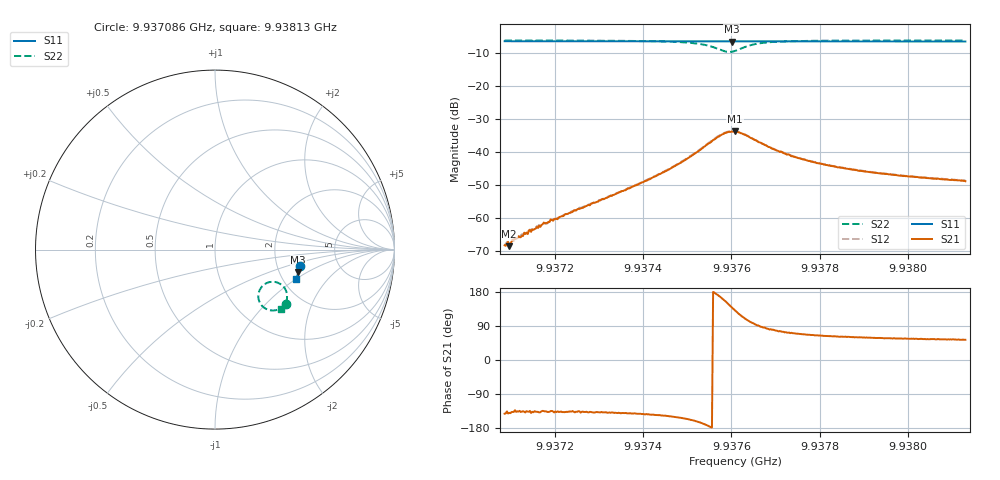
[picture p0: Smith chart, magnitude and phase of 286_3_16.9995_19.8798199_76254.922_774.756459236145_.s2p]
#  HZ  S  RI  R  50.00
! Rohde & Schwarz Vector Network Analyzer
! Rohde-Schwarz,ZNB20-2Port,1311601062101988,3.16
! Created: UTC 3/20/2024, 11:04:55 PM
! freq[Hz]  re:S11  im:S11  re:S21  im:S21  re:S12  im:S12  re:S22  im:S22
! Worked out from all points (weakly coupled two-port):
!   401 points, 9.937086 GHz to 9.93813 GHz, reference 50 ohm
!   highest |S21| = -33.69 dB at 9.937608 GHz (marker M1); lowest = -68.6 dB at 9.937097 GHz (marker M2)
!   lowest |S11| = -6.4 dB at 9.9376 GHz (marker M3), VSWR 2.84, Z = 126 - j41.4 ohm
!   |S11| at or under -10 dB: nowhere
!   |S22| runs from -9.6 to -6.1 dB; largest |S21 - S12| = 0.0009
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9.9370864e9  0.4753 -0.0931  -0.000301 -0.000239  -0.000296 -0.000252  0.3936 -0.3047
9.9370968e9  0.4751 -0.0941  -0.000284 -0.000242  -0.000318 -0.000289  0.3927 -0.3053
9.9371125e9  0.4748 -0.095  -0.000352 -0.000329  -0.000371 -0.000309  0.3917 -0.3066
9.9371594e9  0.4739 -0.0983  -0.000528 -0.0005  -0.000549 -0.00051  0.3882 -0.3102
9.9371751e9  0.4736 -0.0994  -0.000603 -0.000602  -0.000616 -0.000555  0.3868 -0.3113
9.9372612e9  0.4719 -0.1051  -0.00103 -0.000973  -0.00108 -0.000958  0.3785 -0.3183
9.9373498e9  0.4702 -0.1111  -0.00195 -0.0016  -0.00197 -0.00158  0.3665 -0.3266
9.9374359e9  0.4683 -0.117  -0.00379 -0.00261  -0.00388 -0.00255  0.3464 -0.3357
9.9374907e9  0.4668 -0.1207  -0.00654 -0.00323  -0.00671 -0.00318  0.3206 -0.3397
9.9375402e9  0.465 -0.1238  -0.0121 -0.00211  -0.0124 -0.00197  0.2753 -0.3249
9.9375741e9  0.4635 -0.1256  -0.0173 0.00398  -0.0177 0.00462  0.2416 -0.2683
9.9375898e9  0.4631 -0.1258  -0.0175 0.0096  -0.0174 0.0104  0.2494 -0.2242
9.9376002e9  0.4628 -0.1262  -0.0156 0.0134  -0.0154 0.0141  0.2697 -0.1983
9.937608e9  0.463 -0.1264  -0.0135 0.0156  -0.0132 0.0162  0.2905 -0.1854
9.9376367e9  0.4634 -0.1277  -0.0045 0.017  -0.00391 0.0172  0.3622 -0.1905
9.9376628e9  0.4634 -0.1297  -9.82e-06 0.0141  0.000321 0.0142  0.3916 -0.2206
9.9376967e9  0.463 -0.1322  0.00209 0.0109  0.00227 0.0107  0.4014 -0.2515
9.937728e9  0.4624 -0.1345  0.00285 0.00883  0.00299 0.00873  0.4015 -0.2704
9.9377828e9  0.4612 -0.1383  0.00291 0.00654  0.00304 0.00655  0.3964 -0.2906
9.9378793e9  0.4589 -0.1449  0.00269 0.00465  0.0028 0.00464  0.387 -0.3093
9.9379575e9  0.4568 -0.15  0.00246 0.00389  0.00259 0.00389  0.3805 -0.3189
9.9381297e9  0.4525 -0.161  0.00216 0.00291  0.00226 0.00295  0.3681 -0.3335
